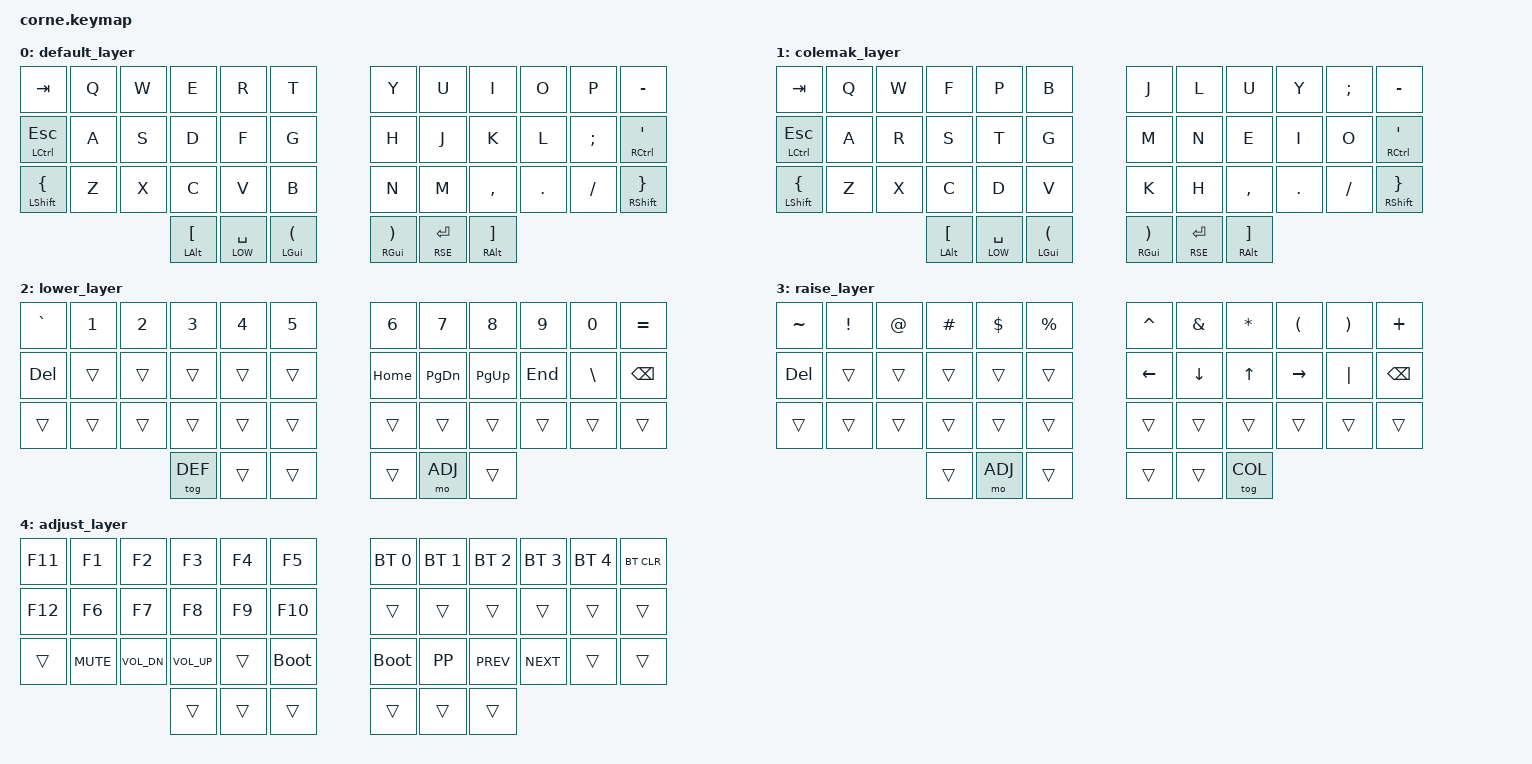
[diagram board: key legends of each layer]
/*
 * Copyright (c) 2020 The ZMK Contributors
 *
 * SPDX-License-Identifier: MIT
 */

#include <behaviors.dtsi>
#include <dt-bindings/zmk/keys.h>
#include <dt-bindings/zmk/bt.h>

#define DEF 0
#define COL 1
#define LOW 2
#define RSE 3
#define ADJ 4

#define COMBO(NAME, BINDINGS, KEYPOS) \
  combo_##NAME { \
    timeout-ms = <50>; \
    bindings = <BINDINGS>; \
    key-positions = <KEYPOS>; \
    layers = <0>; \
  };

/ {

  combos {
    compatible = "zmk,combos";
    COMBO(capsword, &caps_word, 16 19)
  };

  keymap {
    compatible = "zmk,keymap";

    default_layer {
// -----------------------------------------------------------------------------------------
// |  TAB |  Q  |  W  |  E  |  R  |  T  |   |  Y  |  U   |  I  |  O  |  P  | BKSP |
// |CTL/TB|  A  |  S  |  D  |  F  |  G  |   |  H  |  J   |  K  |  L  |  ;  | CTL/'|
// | SHFT |  Z  |  X  |  C  |  V  |  B  |   |  N  |  M   |  ,  |  .  |  /  | SHFT |
//                    | ALT | SPC | GUI |   | GUI | ENT  | ALT |
      bindings = <
        &kp TAB        &kp Q &kp W &kp E &kp R &kp T  &kp Y &kp U  &kp I     &kp O   &kp P    &kp MINUS
        &mt LCTRL ESC  &kp A &kp S &kp D &kp F &kp G  &kp H &kp J  &kp K     &kp L   &kp SEMI &mt RCTRL SQT
        &mt LSHFT LBRC &kp Z &kp X &kp C &kp V &kp B  &kp N &kp M  &kp COMMA &kp DOT &kp FSLH &mt RSHFT RBRC
        &mt LALT LBKT  &lt LOW SPACE &mt LGUI LPAR    &mt RGUI RPAR &lt RSE RET &mt RALT RBKT
      >;
    };

    colemak_layer {
// -----------------------------------------------------------------------------------------
// |  TAB |  Q  |  W  |  E  |  R  |  T  |   |  Y  |  U   |  I  |  O  |  P  | BKSP |
// |CTL/TB|  A  |  S  |  D  |  F  |  G  |   |  H  |  J   |  K  |  L  |  ;  | CTL/'|
// | SHFT |  Z  |  X  |  C  |  V  |  B  |   |  N  |  M   |  ,  |  .  |  /  | SHFT |
//                    | ALT | SPC | GUI |   | GUI | ENT  | ALT |
      bindings = <
        &kp TAB        &kp Q &kp W &kp F &kp P &kp B  &kp J &kp L  &kp U     &kp Y   &kp SEMI &kp MINUS
        &mt LCTRL ESC  &kp A &kp R &kp S &kp T &kp G  &kp M &kp N  &kp E     &kp I   &kp O    &mt RCTRL SQT
        &mt LSHFT LBRC &kp Z &kp X &kp C &kp D &kp V  &kp K &kp H  &kp COMMA &kp DOT &kp FSLH &mt RSHFT RBRC
        &mt LALT LBKT  &lt LOW SPACE &mt LGUI LPAR    &mt RGUI RPAR &lt RSE RET &mt RALT RBKT
      >;
    };

    lower_layer {
// -----------------------------------------------------------------------------------------
// |  ESC |  1  |  2  |  3  |  4  |  5  |   |  6  |  7  |  8  |  9  |  0  | BKSP |
// |      | F1  | F2  | F3  | F4  | F5  |   | LFT | DWN |  UP | RGT |     |      |
// | SHFT | F6  | F7  | F8  | F9  | F10 |   |     |     |     |     |     |      |
//                    | ALT | SPC | GUI |   | GUI | ENT  | ALT |
      bindings = <
        &kp GRAVE &kp N1 &kp N2 &kp N3   &kp N4  &kp N5   &kp N6   &kp N7    &kp N8 &kp N9  &kp N0   &kp EQUAL
        &kp DEL   &trans &trans &trans   &trans  &trans   &kp HOME &kp PG_DN &kp PG_UP &kp END &kp BSLH &kp BSPC
        &trans    &trans &trans &trans   &trans  &trans   &trans   &trans    &trans &trans  &trans   &trans
                                &tog DEF &trans  &trans   &trans   &mo ADJ   &trans
      >;
    };

    raise_layer {
// -----------------------------------------------------------------------------------------
// |  ESC |  !  |  @  |  #  |  $  |  %  |   |  ^  |  &  |  *  |  (  |  )  | BKSP |
// |      |     |     |     |     |     |   |  -  |  =  |  {  |  }  | "" |  `   |
// | SHFT |     |     |     |     |     |   |  _  |  +  |  [  |  ]  |  \  |  ~   |
//                    | GUI | ADJ | ENT |   | SPC | ADJ | ALT |
      bindings = <
        &kp TILDE &kp EXCL &kp AT &kp HASH &kp DLLR &kp PRCNT   &kp CARET &kp AMPS &kp STAR &kp LPAR  &kp RPAR &kp PLUS
        &kp DEL   &trans   &trans &trans   &trans   &trans      &kp LEFT  &kp DOWN &kp UP   &kp RIGHT &kp PIPE &kp BSPC
        &trans    &trans   &trans &trans   &trans   &trans      &trans    &trans   &trans   &trans    &trans   &trans
                    	            &trans   &mo ADJ  &trans      &trans    &trans   &tog COL
      >;
    };

    adjust_layer {
// -----------------------------------------------------------------------------------------
// | MUTE |VOLDN|VOLUP| PREV| NEXT| PLAY|   | BT1 | BT2 | BT3 | BT4 | BT5 | BTCLR|
// | CAPS |     |     |     |     |     |   |     |     |     |     |     |      |
// |      |     |     |     | BRID| BRIU|   |     |     |     |     |     |      |
//                    | GUI |     | ENT |   | SPC |     | ALT |
      bindings = <
        &kp F11 &kp F1     &kp F2       &kp F3       &kp F4 &kp F5      &bt BT_SEL 0 &bt BT_SEL 1 &bt BT_SEL 2 &bt BT_SEL 3 &bt BT_SEL 4 &bt BT_CLR
        &kp F12 &kp F6     &kp F7       &kp F8       &kp F9 &kp F10     &trans       &trans   &trans     &trans     &trans &trans
        &trans  &kp K_MUTE &kp K_VOL_DN &kp K_VOL_UP &trans &bootloader &bootloader  &kp K_PP &kp K_PREV &kp K_NEXT &trans &trans
                                        &trans       &trans &trans      &trans       &trans   &trans
      >;
    };
  };
};

// vi: ft=c
